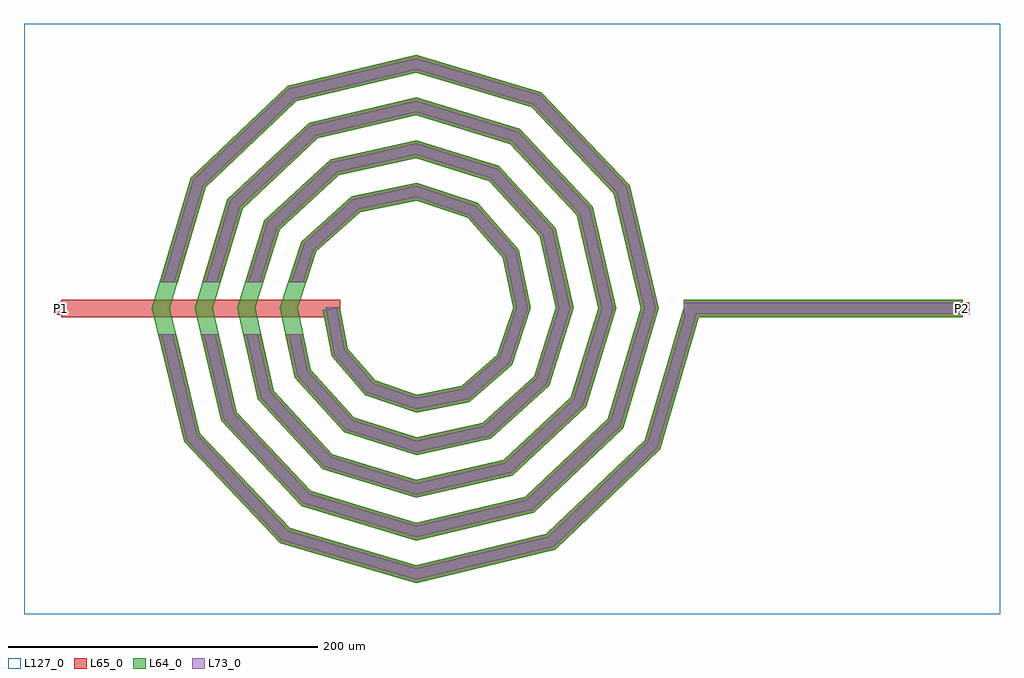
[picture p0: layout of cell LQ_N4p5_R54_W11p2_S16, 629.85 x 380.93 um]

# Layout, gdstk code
import gdstk
lib = gdstk.Library(unit=1e-6, precision=1e-09)
def R(c, l, rs):  # rectangles x0, y0, x1, y1
    for r in rs: c.add(gdstk.rectangle(r[:2], r[2:], *l))
def P(c, l, *ps):  # polygons
    for p in ps: c.add(gdstk.Polygon(p, *l))
L64_0 = (64, 0)
L65_0 = (65, 0)
L73_0 = (73, 0)
L127_0 = (127, 0)

lq_n4p5_r54_w11p2_s16 = lib.new_cell('LQ_N4p5_R54_W11p2_S16')
R(lq_n4p5_r54_w11p2_s16, L64_0, [(172.826,-5.6,352.826,5.6)])
P(lq_n4p5_r54_w11p2_s16, L64_0, [(-44.062,-25.941),(-26.348,-46.473),(0.403,-55.713),(29.338,-50.039),(52.406,-29.824),(62.589,0.362),(56.013,32.744),(33.292,58.343),(0.329,69.465),(-36.155,61.984),(-64.284,36.756),(-76.342,0.302),(-67.952,-39.571),(-40.216,-70.227),(0.278,-83.219),(42.991,-73.919),(76.173,-43.673),(90.096,0.258),(79.885,46.413),(47.127,82.12),(0.241,96.974),(-49.837,85.849),(-88.068,50.579),(-103.851,0.226),(-91.813,-53.264),(-54.03,-94.017),(0.213,-110.729),(56.691,-97.775),(99.967,-57.48),(117.607,0.201),(103.737,60.12),(60.928,105.918),(0.19,124.485),(-63.55,109.699),(-111.87,64.376),(-131.362,0.181),(-115.66,-66.981),(-67.822,-117.822),(0.172,-138.24),(70.413,-121.62),(123.774,-71.268),(145.118,0.164),(127.581,73.846),(74.714,129.727),(0.157,151.996),(-77.278,133.54),(-135.68,78.158),(-158.874,0.151),(-139.5,-80.712),(-81.603,-141.633),(0.145,-165.752),(84.146,-145.46),(147.587,-85.047),(173.053,1.579),(183.799,-1.579),(157.485,-91.087),(89.695,-155.641),(0.145,-177.344),(-87.652,-151.526),(-149.688,-86.251),(-170.466,0.151),(-145.566,84.219),(-82.806,143.734),(0.157,163.588),(80.785,139.606),(137.781,79.361),(156.709,0.164),(133.645,-77.353),(75.915,-131.828),(0.172,-149.831),(-73.921,-127.684),(-125.875,-72.469),(-142.953,0.181),(-121.723,70.489),(-69.022,119.923),(0.19,136.074),(67.058,115.761),(113.971,65.574),(129.196,0.201),(109.799,-63.629),(62.124,-108.02),(0.213,-122.317),(-60.2,-103.836),(-102.069,-58.674),(-115.439,0.226),(-97.872,56.773),(-55.222,96.12),(0.241,108.56),(53.347,91.907),(90.171,51.769),(101.682,0.258),(85.941,-49.924),(48.313,-84.223),(0.278,-94.803),(-46.502,-79.973),(-78.277,-44.854),(-87.924,0.302),(-74.003,43.084),(-41.392,72.332),(0.329,81.044),(39.669,68.03),(66.39,37.925),(74.164,0.362),(62.055,-36.26),(34.453,-60.45),(0.403,-67.284),(-32.857,-56.074),(-54.514,-30.972),(-60.124,-1.031),(-49.116,1.031)])
R(lq_n4p5_r54_w11p2_s16, L65_0, [(-229.02,-5.6,-49.02,5.6), (172.826,-5.6,352.826,5.6), (-233.02,-4,-225.02,4), (348.826,-4,356.826,4)])
P(lq_n4p5_r54_w11p2_s16, L65_0, [(-139.5,-80.712),(-81.603,-141.633),(0.145,-165.752),(84.146,-145.46),(147.587,-85.047),(173.054,1.58),(183.799,-1.58),(157.485,-91.087),(89.695,-155.641),(0.145,-177.344),(-87.653,-151.526),(-149.688,-86.251),(-166.389,-16.8),(-154.87,-16.8)],
  [(-115.66,-66.982),(-67.822,-117.822),(0.172,-138.24),(70.413,-121.62),(123.774,-71.268),(145.118,0.164),(127.581,73.846),(74.714,129.727),(0.157,151.996),(-77.279,133.541),(-135.68,78.158),(-153.854,16.8),(-165.534,16.8),(-145.566,84.219),(-82.806,143.734),(0.157,163.588),(80.786,139.606),(137.781,79.361),(156.709,0.164),(133.645,-77.353),(75.915,-131.828),(0.172,-149.831),(-73.921,-127.684),(-125.875,-72.469),(-138.961,-16.8),(-127.456,-16.8)],
  [(-91.813,-53.264),(-54.03,-94.017),(0.213,-110.729),(56.692,-97.775),(99.967,-57.48),(117.607,0.201),(103.737,60.121),(60.928,105.918),(0.19,124.485),(-63.551,109.699),(-111.87,64.376),(-126.235,16.8),(-137.935,16.8),(-121.723,70.489),(-69.022,119.923),(0.19,136.074),(67.059,115.761),(113.971,65.574),(129.196,0.201),(109.799,-63.629),(62.124,-108.02),(0.213,-122.317),(-60.2,-103.836),(-102.069,-58.674),(-111.574,-16.8),(-100.089,-16.8)],
  [(-67.952,-39.571),(-40.216,-70.227),(0.278,-83.219),(42.991,-73.919),(76.173,-43.673),(90.096,0.259),(79.885,46.413),(47.127,82.12),(0.241,96.974),(-49.838,85.849),(-88.068,50.579),(-98.562,16.8),(-110.29,16.8),(-97.872,56.773),(-55.222,96.12),(0.241,108.56),(53.347,91.907),(90.171,51.769),(101.682,0.259),(85.941,-49.924),(48.313,-84.223),(0.278,-94.803),(-46.502,-79.973),(-78.277,-44.854),(-84.27,-16.8),(-72.817,-16.8)],
  [(-26.348,-46.473),(0.403,-55.713),(29.339,-50.039),(52.406,-29.824),(62.589,0.362),(56.013,32.744),(33.292,58.343),(0.329,69.465),(-36.155,61.984),(-64.284,36.756),(-70.777,16.8),(-82.555,16.8),(-74.003,43.084),(-41.392,72.332),(0.329,81.044),(39.67,68.031),(66.39,37.925),(74.164,0.362),(62.055,-36.26),(34.453,-60.45),(0.403,-67.284),(-32.857,-56.074),(-54.514,-30.972),(-60.124,-1.031),(-49.116,1.031),(-44.062,-25.941)])
R(lq_n4p5_r54_w11p2_s16, L73_0, [(172.826,-3.6,352.826,3.6)])
P(lq_n4p5_r54_w11p2_s16, L73_0, [(-141.319,-81.701),(-82.683,-143.4),(0.093,-167.822),(85.137,-147.278),(149.354,-86.125),(174.972,1.015),(181.88,-1.015),(155.718,-90.008),(88.704,-153.823),(0.093,-175.274),(-86.572,-149.759),(-147.868,-85.262),(-164.332,-16.8),(-156.927,-16.8)],
  [(-117.484,-67.961),(-68.911,-119.583),(0.111,-140.31),(71.396,-123.443),(125.537,-72.355),(147.188,0.106),(129.402,74.83),(75.798,131.491),(0.101,154.066),(-78.266,135.361),(-137.445,79.241),(-155.939,16.8),(-163.449,16.8),(-143.8,83.137),(-81.819,141.914),(0.101,161.518),(79.701,137.842),(135.959,78.376),(154.639,0.106),(131.883,-76.266),(74.933,-130.005),(0.111,-147.761),(-72.832,-125.923),(-124.051,-71.489),(-136.907,-16.8),(-129.51,-16.8)],
  [(-93.644,-54.23),(-55.132,-95.771),(0.137,-112.798),(57.662,-99.605),(101.723,-58.578),(119.676,0.129),(105.565,61.094),(62.023,107.676),(0.122,126.554),(-64.528,111.524),(-113.629,65.467),(-128.324,16.8),(-135.845,16.8),(-119.964,69.397),(-68.045,118.097),(0.122,134.005),(65.964,114.004),(112.144,64.6),(127.126,0.129),(108.043,-62.531),(61.154,-106.191),(0.137,-120.248),(-59.098,-102.083),(-100.238,-57.708),(-109.523,-16.8),(-102.14,-16.8)],
  [(-69.796,-40.515),(-41.338,-71.968),(0.179,-85.287),(43.941,-75.759),(77.917,-44.789),(92.165,0.166),(81.722,47.369),(48.238,83.867),(0.155,99.043),(-50.799,87.683),(-89.819,51.685),(-100.656,16.8),(-108.196,16.8),(-96.121,55.667),(-54.261,94.286),(0.155,106.491),(52.237,90.159),(88.334,50.812),(99.613,0.166),(84.196,-48.807),(47.362,-82.383),(0.179,-92.734),(-45.38,-78.233),(-76.433,-43.911),(-82.225,-16.8),(-74.862,-16.8)],
  [(-27.511,-48.188),(0.259,-57.779),(30.252,-51.898),(54.129,-30.973),(64.656,0.233),(57.866,33.669),(34.431,60.073),(0.212,71.533),(-37.09,63.832),(-66.02,37.886),(-72.881,16.8),(-80.452,16.8),(-72.267,41.954),(-40.457,70.484),(0.212,78.976),(38.531,66.301),(64.537,37),(72.097,0.233),(60.332,-35.111),(33.539,-58.591),(0.259,-65.218),(-31.695,-54.36),(-52.648,-30.073),(-58.159,0.663),(-51.082,0.663),(-45.928,-26.84)])
R(lq_n4p5_r54_w11p2_s16, L127_0, [(-253.02,-197.344,376.826,183.588)])
lq_n4p5_r54_w11p2_s16.add(gdstk.Label('P2', (352.826,0), layer=65, texttype=0))
lq_n4p5_r54_w11p2_s16.add(gdstk.Label('P1', (-229.02,0), layer=65, texttype=0))
lq_n4p5_r54_w11p2_s16.add(gdstk.Label('P2', (356.826,0), layer=145, texttype=0))
lq_n4p5_r54_w11p2_s16.add(gdstk.Label('P1', (-233.02,0), layer=145, texttype=0))

lib.write_gds('LQ_N4p5_R54_W11p2_S16.gds')
